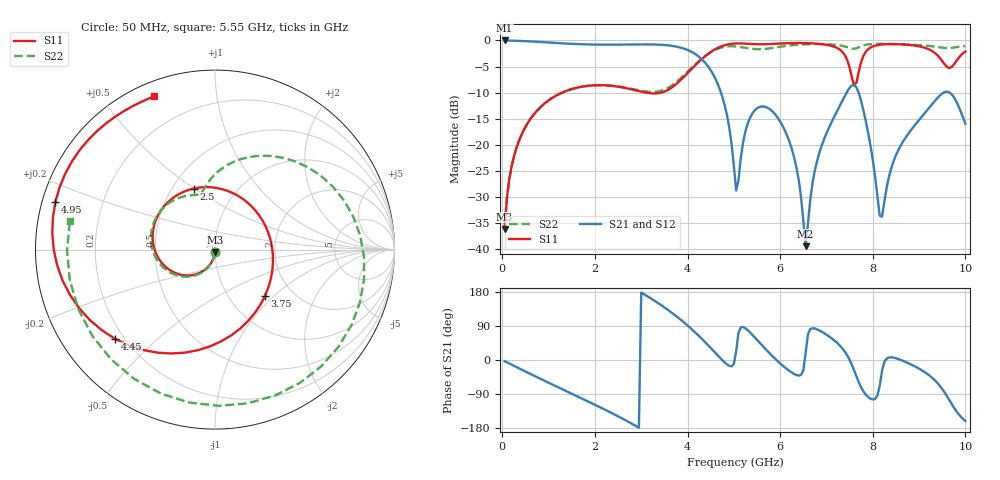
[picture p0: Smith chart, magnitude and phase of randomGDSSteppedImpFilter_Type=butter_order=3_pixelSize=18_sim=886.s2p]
! freq	dB(S11)	phase(S11)	dB(S12)	phase(S12)
!  dB(S21)	phase(S21)	dB(S22)	phase(S22)
!S-par simulation data
#  GHz  S  DB  R 50
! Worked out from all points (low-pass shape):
!   200 points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, 50 MHz to 10 GHz, reference 50 ohm
!   highest |S21| = 0.00 dB at 50 MHz (marker M1); lowest = -39.4 dB at 6.55 GHz (marker M2)
!   |S21| within 3 dB of the highest: start of sweep to 4.228 GHz
!   lowest |S11| = -36.1 dB at 50 MHz (marker M3), VSWR 1.03, Z = 49.9 - j1.55 ohm
!   |S11| at or under -10 dB: start of sweep to 1.294 GHz; 3.099 GHz to 3.43 GHz (331.7 MHz wide, 10.2 % of centre)
!   |S22| runs from -36.1 to -0.7 dB; largest |S21 - S12| = 0
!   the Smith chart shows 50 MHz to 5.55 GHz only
!   S11 on the Smith chart (normalised r, x): 50 MHz: 1.00, -0.03; 2.5 GHz: 0.64, +0.50; 3.75 GHz: 1.45, -0.88; 4.45 GHz: 0.17, -0.37; 4.95 GHz: 0.04, +0.15; 5.55 GHz: 0.06, +0.68
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0.05  -36.15 -93.3  -0.00 -3.1  -0.00 -3.1  -36.14 -93.1
0.5  -16.57 -121.7  -0.14 -30.4  -0.14 -30.4  -16.58 -120.2
1.75  -8.82 161.5  -0.74 -103.5  -0.74 -103.5  -8.81 170.4
2.5  -8.87 109.2  -0.81 -148.5  -0.81 -148.5  -8.81 133.0
3.4  -10.07 10.1  -0.82 147.3  -0.82 147.3  -9.71 103.4
3.75  -8.40 -43.1  -1.17 116.4  -1.17 116.4  -8.02 93.1
4.45  -2.54 -138.3  -5.06 38.2  -5.06 38.2  -2.55 27.9
4.95  -0.65 163.3  -19.74 -16.8  -19.74 -16.8  -1.10 -57.5
5.05  -0.58 153.2  -28.76 22.5  -28.76 22.5  -1.15 -78.0
5.55  -0.73 111.8  -12.76 46.6  -12.76 46.6  -1.68 168.9
5.95  -0.61 84.0  -14.85 -3.5  -14.85 -3.5  -1.28 87.3
6.55  -0.51 41.5  -39.44 17.9  -39.44 17.9  -0.74 6.0
6.7  -0.56 30.2  -27.28 83.7  -27.28 83.7  -0.70 -8.9
7.25  -1.54 -24.0  -13.19 42.9  -13.19 42.9  -0.91 -53.1
7.6  -8.69 -164.3  -8.56 -28.3  -8.56 -28.3  -1.59 -70.9
7.8  -2.92 60.7  -13.48 -83.1  -13.48 -83.1  -0.95 -79.2
8.15  -0.82 -0.6  -33.60 -68.1  -33.60 -68.1  -0.65 -99.2
8.35  -0.70 -19.3  -26.11 6.6  -26.11 6.6  -0.68 -109.3
9.1  -1.34 -84.2  -14.17 -30.3  -14.17 -30.3  -0.96 -142.9
9.5  -3.95 -164.2  -10.16 -76.5  -10.16 -76.5  -1.39 -158.2
9.75  -4.63 78.2  -10.85 -125.1  -10.85 -125.1  -1.37 -165.2
10  -2.13 3.3  -15.95 -160.7  -15.95 -160.7  -1.07 -174.9
